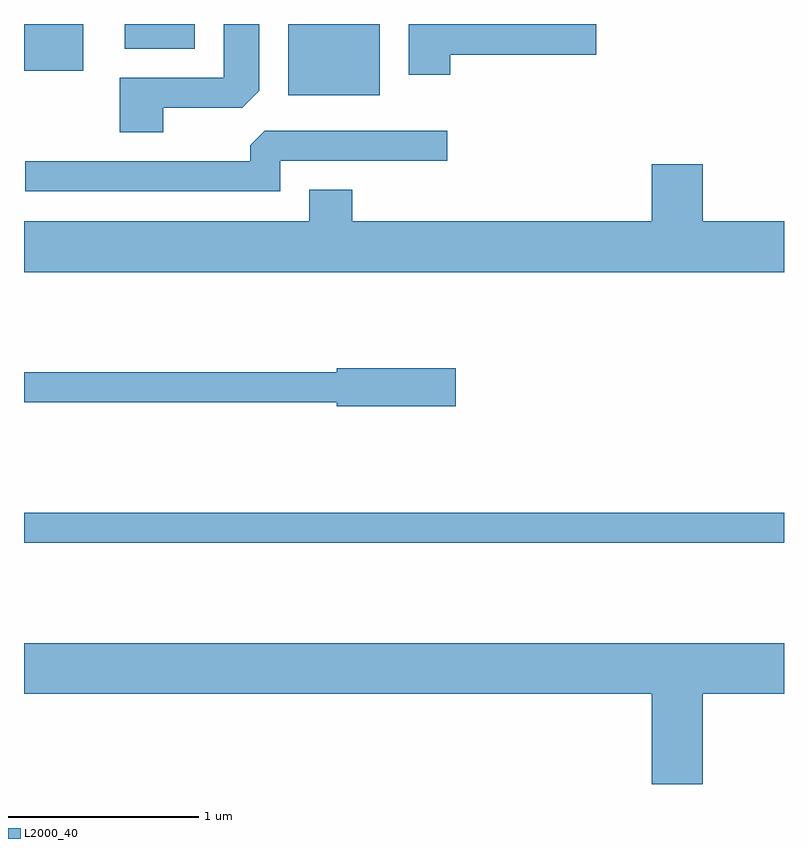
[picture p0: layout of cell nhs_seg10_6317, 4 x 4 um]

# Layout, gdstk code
import gdstk
lib = gdstk.Library(unit=1e-6, precision=1e-09)
def R(c, l, rs):  # rectangles x0, y0, x1, y1
    for r in rs: c.add(gdstk.rectangle(r[:2], r[2:], *l))
def P(c, l, *ps):  # polygons
    for p in ps: c.add(gdstk.Polygon(p, *l))
L2000_40 = (2000, 40)

nhs_seg10_6317 = lib.new_cell('nhs_seg10_6317')
R(nhs_seg10_6317, L2000_40, [(371.611,2145.791,375.611,2145.949), (373.001,2148.146,373.484,2148.522), (371.611,2148.276,371.924,2148.522), (372.141,2148.391,372.509,2148.522)])
P(nhs_seg10_6317, L2000_40, [(372.344,2148.081),(372.759,2148.081),(372.849,2148.172),(372.849,2148.522),(372.661,2148.522),(372.661,2148.239),(372.116,2148.239),(372.116,2147.951),(372.344,2147.951)],
  [(373.854,2148.361),(374.624,2148.361),(374.624,2148.522),(373.636,2148.522),(373.636,2148.256),(373.854,2148.256)],
  [(372.959,2147.801),(373.838,2147.801),(373.838,2147.959),(372.877,2147.959),(372.801,2147.884),(372.801,2147.799),(371.618,2147.799),(371.618,2147.641),(372.959,2147.641)],
  [(375.611,2147.484),(375.184,2147.484),(375.184,2147.784),(374.916,2147.784),(374.916,2147.484),(373.339,2147.484),(373.339,2147.649),(373.111,2147.649),(373.111,2147.484),(371.611,2147.484),(371.611,2147.216),(375.611,2147.216)],
  [(373.884,2146.709),(373.256,2146.709),(373.256,2146.689),(371.611,2146.689),(371.611,2146.531),(373.256,2146.531),(373.256,2146.511),(373.884,2146.511)],
  [(375.184,2144.996),(375.611,2144.996),(375.611,2145.264),(371.611,2145.264),(371.611,2144.996),(374.916,2144.996),(374.916,2144.522),(375.184,2144.522)])

lib.write_gds('nhs_seg10_6317.gds')
